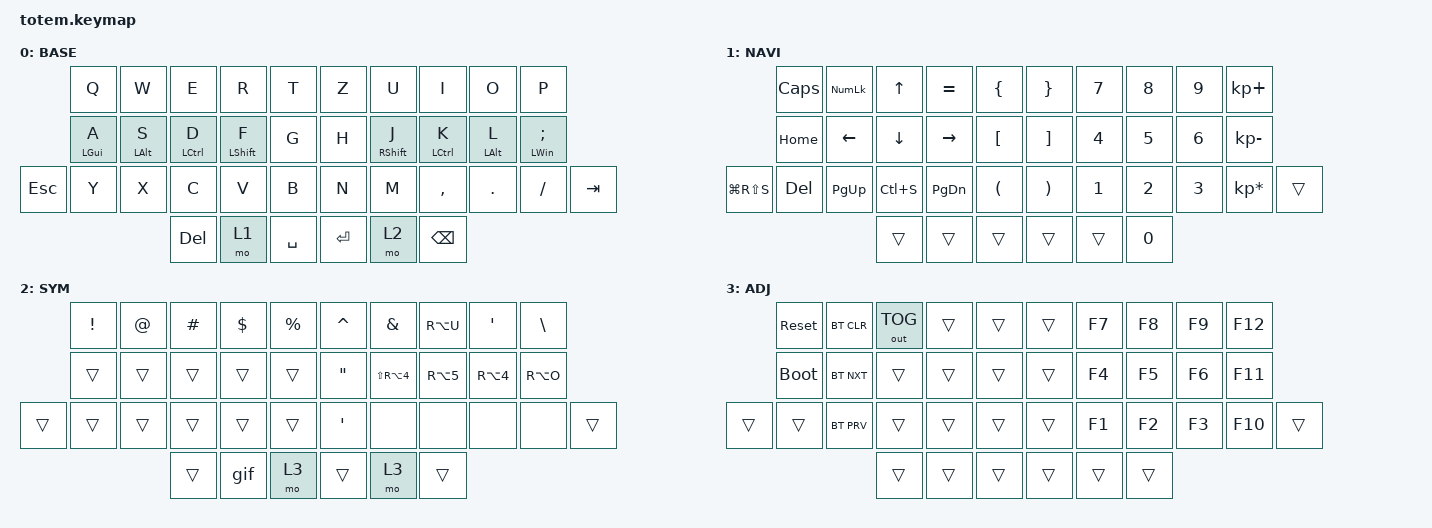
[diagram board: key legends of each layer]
//
//                                                        ▀▀▀▀▀     ▀▀▀▀▀          ▀▀█▀▀
//                                                        ▄▀▀▀▄  ▄  ▄▀▀▀▄  ▄  ▄▀▀▀▄  █  ▄▀▀▀▄
//                                                        █   █  █  █   █  █  █   █  █  █   █
//                                                         ▀▀▀   █   ▀▀▀   █   ▀▀▀   ▀   ▀▀▀
//                                                               █      ▄▄▄█▄▄▄    █   █  
//                                                               ▀      █  █  █     █▄█
//                                                             ▀▀▀▀▀    █  █  █      ▀
//                                                                      ▀  ▀  ▀
//
// ▄▄▄▄▄▄▄▄▄▄▄▄▄▄▄▄▄▄▄▄▄▄▄▄▄▄▄▄▄▄▄▄▄▄▄▄▄▄▄▄▄▄▄▄▄▄▄▄▄▄▄▄▄▄▄▄▄▄▄▄▄▄▄▄▄▄▄▄▄▄▄▄▄▄▄▄▄▄▄▄▄▄▄▄▄▄▄▄▄▄▄▄▄▄▄▄▄▄▄▄▄▄▄▄▄▄▄▄▄▄▄▄▄▄▄▄▄▄▄▄▄▄▄▄▄▄▄▄▄▄▄▄▄▄▄▄▄▄▄▄▄▄▄▄▄▄▄▄▄

#include <behaviors.dtsi>
#include <dt-bindings/zmk/bt.h>
#include <dt-bindings/zmk/keys.h>
#include <dt-bindings/zmk/outputs.h>

#define BASE 0
#define NAV  1
#define SYM  2
#define ADJ  3
#define TVP1 4
#define TVP2 5

&mt {
    quick-tap-ms = <100>;
    global-quick-tap;
    flavor = "tap-preferred";
    tapping-term-ms = <170>;
};

/ {
    combos {
        compatible = "zmk,combos";

        combo_esc {
            timeout-ms = <50>;
            key-positions = <0 1>;
            bindings = <&kp ESC>;
        };

        combo_tvp {
            timeout-ms = <100>;
            key-positions = <11 12 13>;
            bindings = <&tog 0>;
        };
    };

    macros {
        gif: gif {
            label = "giphy";
            compatible = "zmk,behavior-macro";
            #binding-cells = <0>;
            bindings =
                <&macro_press>,
                <&kp LSHFT>,
                <&macro_tap>,
                <&kp N2>,
                <&macro_release>,
                <&kp LSHFT>,
                <&macro_tap>,
                <&kp G &kp I &kp F>;
        };
    };

    keymap {
        compatible = "zmk,keymap";

        // ▄▄▄▄▄▄▄▄▄▄▄▄▄▄▄▄▄▄▄▄▄▄▄▄▄▄▄▄▄▄▄▄▄▄▄▄▄▄▄▄▄▄▄▄▄▄▄▄▄▄▄▄▄▄▄▄▄▄▄▄▄▄▄▄▄▄▄▄▄▄▄▄▄▄▄▄▄▄▄▄▄▄▄▄▄▄▄▄▄▄▄▄▄▄▄▄▄▄▄▄▄▄▄▄▄▄▄▄▄▄▄▄▄▄▄▄▄▄▄▄▄▄▄▄▄▄▄▄▄▄▄▄▄▄▄▄▄▄▄▄▄▄▄▄▄▄▄▄▄

        base_layer {
            // ┏━━━━━━━━━━━━━━━━━━━━━━━━━━━━━━━━━━━━━━━┓

            label = "BASE";

            // ┗━━━━━━━━━━━━━━━━━━━━━━━━━━━━━━━━━━━━━━━┛
            //             ┏━━━━━━━━━━━┳━━━━━━━━━━━┳━━━━━━━━━━━┳━━━━━━━━━━━┳━━━━━━━━━━━┓   ┏━━━━━━━━━━━┳━━━━━━━━━━━┳━━━━━━━━━━━┳━━━━━━━━━━━┳━━━━━━━━━━━┓
            //             ┃     Q     ┃     W     ┃     F     ┃     P     ┃     G     ┃   ┃     J     ┃     L     ┃     U     ┃     Y     ┃     ;     ┃
            //             ┣━━━━━━━━━━━╋━━━━━━━━━━━╋━━━━━━━━━━━╋━━━━━━━━━━━╋━━━━━━━━━━━┫   ┣━━━━━━━━━━━╋━━━━━━━━━━━╋━━━━━━━━━━━╋━━━━━━━━━━━╋━━━━━━━━━━━┫
            //             ┃     A     ┃     R     ┃     S     ┃     T     ┃     D     ┃   ┃     H     ┃     N     ┃     E     ┃     I     ┃     O     ┃
            // ┏━━━━━━━━━━━╋━━━━━━━━━━━╋━━━━━━━━━━━╋━━━━━━━━━━━╋━━━━━━━━━━━╋━━━━━━━━━━━┫   ┣━━━━━━━━━━━╋━━━━━━━━━━━╋━━━━━━━━━━━╋━━━━━━━━━━━╋━━━━━━━━━━━╋━━━━━━━━━━━┓
            // ┃     Q     ┃     Z     ┃     X     ┃     C     ┃     V     ┃     B     ┃   ┃     K     ┃     M     ┃     ,     ┃     .     ┃     /     ┃     \     ┃
            // ┗━━━━━━━━━━━┻━━━━━━━━━━━┻━━━━━━━━━━━╋━━━━━━━━━━━╋━━━━━━━━━━━╋━━━━━━━━━━━┫   ┣━━━━━━━━━━━╋━━━━━━━━━━━╋━━━━━━━━━━━╋━━━━━━━━━━━┻━━━━━━━━━━━┻━━━━━━━━━━━┛
            //                                     ┃    DEL    ┃    TAB    ┃    SPC    ┃   ┃   ENTER   ┃           ┃   BSPC    ┃
            //                                     ┗━━━━━━━━━━━┻━━━━━━━━━━━┻━━━━━━━━━━━┛   ┗━━━━━━━━━━━┻━━━━━━━━━━━┻━━━━━━━━━━━┛

            bindings = <
            &kp Q       &kp W       &kp E        &kp R        &kp T        &kp Z    &kp U        &kp I        &kp O           &kp P
            &mt LGUI A  &mt LALT S  &mt LCTRL D  &mt LSHFT F  &kp G        &kp H    &mt RSHFT J  &mt LCTRL K  &mt LEFT_ALT L  &mt LEFT_WIN SEMICOLON
&kp ESCAPE  &kp Y       &kp X       &kp C        &kp V        &kp B        &kp N    &kp M        &kp COMMA    &kp DOT         &kp SLASH               &kp TAB
                                    &kp DELETE   &mo 1        &kp SPACE    &kp RET  &mo 2        &kp BSPC
            >;
        };

        // ▄▄▄▄▄▄▄▄▄▄▄▄▄▄▄▄▄▄▄▄▄▄▄▄▄▄▄▄▄▄▄▄▄▄▄▄▄▄▄▄▄▄▄▄▄▄▄▄▄▄▄▄▄▄▄▄▄▄▄▄▄▄▄▄▄▄▄▄▄▄▄▄▄▄▄▄▄▄▄▄▄▄▄▄▄▄▄▄▄▄▄▄▄▄▄▄▄▄▄▄▄▄▄▄▄▄▄▄▄▄▄▄▄▄▄▄▄▄▄▄▄▄▄▄▄▄▄▄▄▄▄▄▄▄▄▄▄▄▄▄▄▄▄▄▄▄▄▄▄

        nav_layer {
            // ┏━━━━━━━━━━━━━━━━━━━━━━━━━━━━━━━━━━━━━━━┓

            label = "NAVI";

            // ┗━━━━━━━━━━━━━━━━━━━━━━━━━━━━━━━━━━━━━━━┛
            //             ┏━━━━━━━━━━━┳━━━━━━━━━━━┳━━━━━━━━━━━┳━━━━━━━━━━━┳━━━━━━━━━━━┓   ┏━━━━━━━━━━━┳━━━━━━━━━━━┳━━━━━━━━━━━┳━━━━━━━━━━━┳━━━━━━━━━━━┓
            //             ┃           ┃           ┃     UP    ┃           ┃     {     ┃   ┃     }     ┃     7     ┃     8     ┃     9     ┃     +     ┃
            //             ┣━━━━━━━━━━━╋━━━━━━━━━━━╋━━━━━━━━━━━╋━━━━━━━━━━━╋━━━━━━━━━━━┫   ┣━━━━━━━━━━━╋━━━━━━━━━━━╋━━━━━━━━━━━╋━━━━━━━━━━━╋━━━━━━━━━━━┫
            //             ┃   SHIFT   ┃   LEFT    ┃    DOWN   ┃   RIGHT   ┃     [     ┃   ┃     ]     ┃     4     ┃     5     ┃     6     ┃     -     ┃
            // ┏━━━━━━━━━━━╋━━━━━━━━━━━╋━━━━━━━━━━━╋━━━━━━━━━━━╋━━━━━━━━━━━╋━━━━━━━━━━━┫   ┣━━━━━━━━━━━╋━━━━━━━━━━━╋━━━━━━━━━━━╋━━━━━━━━━━━╋━━━━━━━━━━━╋━━━━━━━━━━━┓
            // ┃           ┃           ┃   P UP    ┃  C LOCK   ┃  P DOWN   ┃     (     ┃   ┃     )     ┃     1     ┃     2     ┃     3     ┃     *     ┃           ┃
            // ┗━━━━━━━━━━━┻━━━━━━━━━━━┻━━━━━━━━━━━╋━━━━━━━━━━━╋━━━━━━━━━━━╋━━━━━━━━━━━┫   ┣━━━━━━━━━━━╋━━━━━━━━━━━╋━━━━━━━━━━━╋━━━━━━━━━━━┻━━━━━━━━━━━┻━━━━━━━━━━━┛
            //                                     ┃           ┃    TAB    ┃    SPC    ┃   ┃    DEL    ┃     0     ┃           ┃
            //                                     ┗━━━━━━━━━━━┻━━━━━━━━━━━┻━━━━━━━━━━━┛   ┗━━━━━━━━━━━┻━━━━━━━━━━━┻━━━━━━━━━━━┛

            bindings = <
               &kp CAPSLOCK  &kp KP_NUMLOCK  &kp UP     &kp EQUAL  &kp LBRC    &kp RBRC  &kp N7        &kp N8        &kp N9        &kp KP_PLUS
               &kp HOME      &kp LEFT        &kp DOWN   &kp RIGHT  &kp LBKT    &kp RBKT  &kp NUMBER_4  &kp N5        &kp NUMBER_6  &kp KP_MINUS
&kp LG(RS(S))  &kp DEL       &kp PG_UP       &kp LC(S)  &kp PG_DN  &kp LPAR    &kp RPAR  &kp NUMBER_1  &kp NUMBER_2  &kp NUMBER_3  &kp KP_MULTIPLY  &trans
                                             &trans     &trans     &trans      &trans    &trans        &kp N0
            >;
        };

        // ▄▄▄▄▄▄▄▄▄▄▄▄▄▄▄▄▄▄▄▄▄▄▄▄▄▄▄▄▄▄▄▄▄▄▄▄▄▄▄▄▄▄▄▄▄▄▄▄▄▄▄▄▄▄▄▄▄▄▄▄▄▄▄▄▄▄▄▄▄▄▄▄▄▄▄▄▄▄▄▄▄▄▄▄▄▄▄▄▄▄▄▄▄▄▄▄▄▄▄▄▄▄▄▄▄▄▄▄▄▄▄▄▄▄▄▄▄▄▄▄▄▄▄▄▄▄▄▄▄▄▄▄▄▄▄▄▄▄▄▄▄▄▄▄▄▄▄▄▄

        sim_layer {
            // ┏━━━━━━━━━━━━━━━━━━━━━━━━━━━━━━━━━━━━━━━┓

            label = "SYM";

            // ┗━━━━━━━━━━━━━━━━━━━━━━━━━━━━━━━━━━━━━━━┛
            //             ┏━━━━━━━━━━━┳━━━━━━━━━━━┳━━━━━━━━━━━┳━━━━━━━━━━━┳━━━━━━━━━━━┓   ┏━━━━━━━━━━━┳━━━━━━━━━━━┳━━━━━━━━━━━┳━━━━━━━━━━━┳━━━━━━━━━━━┓
            //             ┃     !     ┃     @     ┃     #     ┃     $     ┃     %     ┃   ┃     ˆ     ┃     &     ┃     Ü     ┃     '     ┃     "     ┃
            //             ┣━━━━━━━━━━━╋━━━━━━━━━━━╋━━━━━━━━━━━╋━━━━━━━━━━━╋━━━━━━━━━━━┫   ┣━━━━━━━━━━━╋━━━━━━━━━━━╋━━━━━━━━━━━╋━━━━━━━━━━━╋━━━━━━━━━━━┫
            //             ┃     Ä     ┃           ┃    SZ     ┃           ┃           ┃   ┃   MUTE    ┃   YEN     ┃   EURO    ┃  POUND    ┃     Ö     ┃
            // ┏━━━━━━━━━━━╋━━━━━━━━━━━╋━━━━━━━━━━━╋━━━━━━━━━━━╋━━━━━━━━━━━╋━━━━━━━━━━━┫   ┣━━━━━━━━━━━╋━━━━━━━━━━━╋━━━━━━━━━━━╋━━━━━━━━━━━╋━━━━━━━━━━━╋━━━━━━━━━━━┓
            // ┃           ┃  EMAIL1   ┃  EMAIL2   ┃           ┃           ┃           ┃   ┃   VOL-    ┃   VOL+    ┃   LAST    ┃   NEXT    ┃     \     ┃           ┃
            // ┗━━━━━━━━━━━┻━━━━━━━━━━━┻━━━━━━━━━━━╋━━━━━━━━━━━╋━━━━━━━━━━━╋━━━━━━━━━━━┫   ┣━━━━━━━━━━━╋━━━━━━━━━━━╋━━━━━━━━━━━╋━━━━━━━━━━━┻━━━━━━━━━━━┻━━━━━━━━━━━┛
            //                                     ┃           ┃    GIF    ┃    ADJ    ┃   ┃           ┃           ┃           ┃
            //                                     ┗━━━━━━━━━━━┻━━━━━━━━━━━┻━━━━━━━━━━━┛   ┗━━━━━━━━━━━┻━━━━━━━━━━━┻━━━━━━━━━━━┛

            bindings = <
        &kp EXCL  &kp AT  &kp HASH  &kp DLLR  &kp PRCNT    &kp CARET          &kp AMPS        &kp RA(U)   &kp SQT     &kp BACKSLASH
        &trans    &trans  &trans    &trans    &trans       &kp DOUBLE_QUOTES  &kp LS(RA(N4))  &kp RA(N5)  &kp RA(N4)  &kp RA(O)
&trans  &trans    &trans  &trans    &trans    &trans       &kp SINGLE_QUOTE   &none           &none       &none       &none          &trans
                          &trans    &gif      &mo 3        &trans             &mo 3           &trans
            >;
        };

        // ▄▄▄▄▄▄▄▄▄▄▄▄▄▄▄▄▄▄▄▄▄▄▄▄▄▄▄▄▄▄▄▄▄▄▄▄▄▄▄▄▄▄▄▄▄▄▄▄▄▄▄▄▄▄▄▄▄▄▄▄▄▄▄▄▄▄▄▄▄▄▄▄▄▄▄▄▄▄▄▄▄▄▄▄▄▄▄▄▄▄▄▄▄▄▄▄▄▄▄▄▄▄▄▄▄▄▄▄▄▄▄▄▄▄▄▄▄▄▄▄▄▄▄▄▄▄▄▄▄▄▄▄▄▄▄▄▄▄▄▄▄▄▄▄▄▄▄▄▄

        adjust_layer {
            // ┏━━━━━━━━━━━━━━━━━━━━━━━━━━━━━━━━━━━━━━━┓

            label = "ADJ";

            // ┗━━━━━━━━━━━━━━━━━━━━━━━━━━━━━━━━━━━━━━━┛
            //             ┏━━━━━━━━━━━┳━━━━━━━━━━━┳━━━━━━━━━━━┳━━━━━━━━━━━┳━━━━━━━━━━━┓   ┏━━━━━━━━━━━┳━━━━━━━━━━━┳━━━━━━━━━━━┳━━━━━━━━━━━┳━━━━━━━━━━━┓
            //             ┃   RESET   ┃ BT CLEAR  ┃  OUT TOG  ┃           ┃           ┃   ┃           ┃    F7     ┃    F8     ┃    F9     ┃    F12    ┃
            //             ┣━━━━━━━━━━━╋━━━━━━━━━━━╋━━━━━━━━━━━╋━━━━━━━━━━━╋━━━━━━━━━━━┫   ┣━━━━━━━━━━━╋━━━━━━━━━━━╋━━━━━━━━━━━╋━━━━━━━━━━━╋━━━━━━━━━━━┫
            //             ┃ BOOTLOAD  ┃ BT NEXT   ┃           ┃           ┃           ┃   ┃           ┃    F4     ┃    F5     ┃    F6     ┃    F11    ┃
            // ┏━━━━━━━━━━━╋━━━━━━━━━━━╋━━━━━━━━━━━╋━━━━━━━━━━━╋━━━━━━━━━━━╋━━━━━━━━━━━┫   ┣━━━━━━━━━━━╋━━━━━━━━━━━╋━━━━━━━━━━━╋━━━━━━━━━━━╋━━━━━━━━━━━╋━━━━━━━━━━━┓
            // ┃           ┃           ┃ BT PREV   ┃           ┃           ┃           ┃   ┃           ┃    F1     ┃    F2     ┃    F3     ┃    F10    ┃           ┃
            // ┗━━━━━━━━━━━┻━━━━━━━━━━━┻━━━━━━━━━━━╋━━━━━━━━━━━╋━━━━━━━━━━━╋━━━━━━━━━━━┫   ┣━━━━━━━━━━━╋━━━━━━━━━━━╋━━━━━━━━━━━╋━━━━━━━━━━━┻━━━━━━━━━━━┻━━━━━━━━━━━┛
            //                                     ┃           ┃           ┃           ┃   ┃           ┃           ┃           ┃
            //                                     ┗━━━━━━━━━━━┻━━━━━━━━━━━┻━━━━━━━━━━━┛   ┗━━━━━━━━━━━┻━━━━━━━━━━━┻━━━━━━━━━━━┛

            bindings = <
        &sys_reset   &bt BT_CLR  &out OUT_TOG  &trans  &trans    &trans  &kp F7  &kp F8  &kp F9  &kp F12
        &bootloader  &bt BT_NXT  &trans        &trans  &trans    &trans  &kp F4  &kp F5  &kp F6  &kp F11
&trans  &trans       &bt BT_PRV  &trans        &trans  &trans    &trans  &kp F1  &kp F2  &kp F3  &kp F10  &trans
                                 &trans        &trans  &trans    &trans  &trans  &trans
            >;
        };

        // ▄▄▄▄▄▄▄▄▄▄▄▄▄▄▄▄▄▄▄▄▄▄▄▄▄▄▄▄▄▄▄▄▄▄▄▄▄▄▄▄▄▄▄▄▄▄▄▄▄▄▄▄▄▄▄▄▄▄▄▄▄▄▄▄▄▄▄▄▄▄▄▄▄▄▄▄▄▄▄▄▄▄▄▄▄▄▄▄▄▄▄▄▄▄▄▄▄▄▄▄▄▄▄▄▄▄▄▄▄▄▄▄▄▄▄▄▄▄▄▄▄▄▄▄▄▄▄▄▄▄▄▄▄▄▄▄▄▄▄▄▄▄▄▄▄▄▄▄▄
        // ▄▄▄▄▄▄▄▄▄▄▄▄▄▄▄▄▄▄▄▄▄▄▄▄▄▄▄▄▄▄▄▄▄▄▄▄▄▄▄▄▄▄▄▄▄▄▄▄▄▄▄▄▄▄▄▄▄▄▄▄▄▄▄▄▄▄▄▄▄▄▄▄▄▄▄▄▄▄▄▄▄▄▄▄▄▄▄▄▄▄▄▄▄▄▄▄▄▄▄▄▄▄▄▄▄▄▄▄▄▄▄▄▄▄▄▄▄▄▄▄▄▄▄▄▄▄▄▄▄▄▄▄▄▄▄▄▄▄▄▄▄▄▄▄▄▄▄▄▄
    };
};
